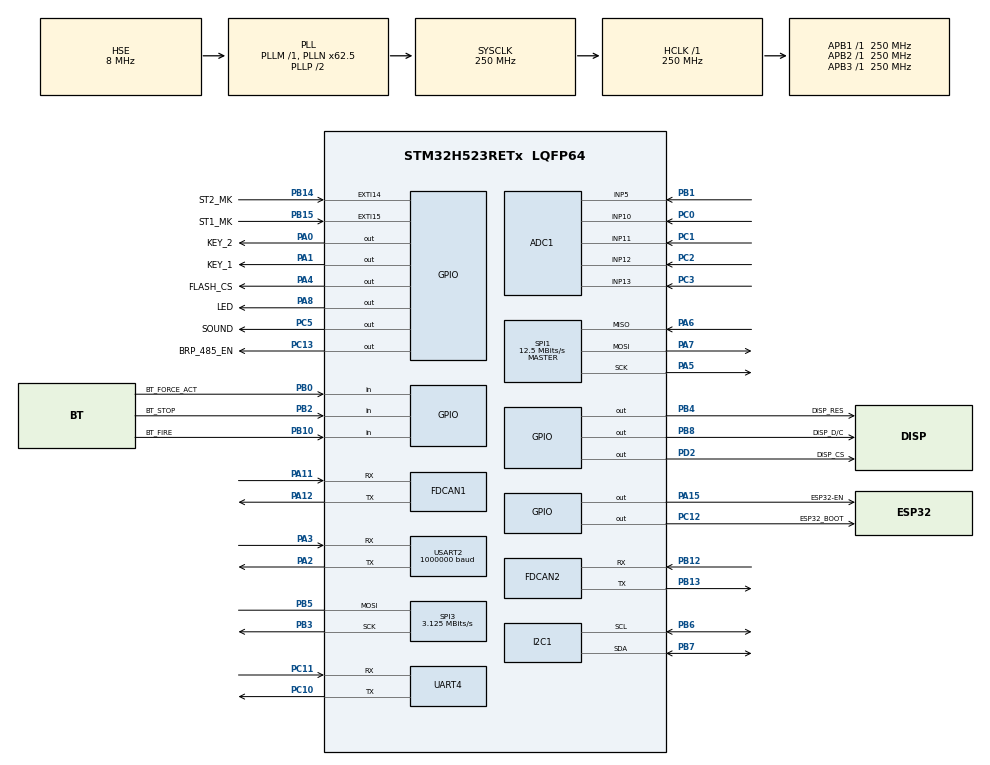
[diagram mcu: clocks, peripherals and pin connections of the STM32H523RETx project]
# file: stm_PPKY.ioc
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ADC1.Channel-0\#ChannelRegularConversion=ADC_CHANNEL_5
ADC1.Channel-1\#ChannelRegularConversion=ADC_CHANNEL_10
ADC1.Channel-2\#ChannelRegularConversion=ADC_CHANNEL_11
ADC1.Channel-3\#ChannelRegularConversion=ADC_CHANNEL_12
ADC1.Channel-4\#ChannelRegularConversion=ADC_CHANNEL_13
ADC1.ClockPrescaler=ADC_CLOCK_ASYNC_DIV2
ADC1.ContinuousConvMode=ENABLE
ADC1.DMAContinuousRequests=ENABLE
ADC1.EOCSelection=ADC_EOC_SEQ_CONV
ADC1.MonitoredBy-0\#ChannelRegularConversion=__NULL
ADC1.MonitoredBy-1\#ChannelRegularConversion=__NULL
ADC1.MonitoredBy-2\#ChannelRegularConversion=__NULL
ADC1.MonitoredBy-3\#ChannelRegularConversion=__NULL
ADC1.MonitoredBy-4\#ChannelRegularConversion=__NULL
ADC1.NbrOfConversion=5
ADC1.NbrOfConversionFlag=1
ADC1.OffsetNumber-0\#ChannelRegularConversion=ADC_OFFSET_NONE
ADC1.OffsetNumber-1\#ChannelRegularConversion=ADC_OFFSET_NONE
ADC1.OffsetNumber-2\#ChannelRegularConversion=ADC_OFFSET_NONE
ADC1.OffsetNumber-3\#ChannelRegularConversion=ADC_OFFSET_NONE
ADC1.OffsetNumber-4\#ChannelRegularConversion=ADC_OFFSET_NONE
ADC1.Rank-0\#ChannelRegularConversion=1
ADC1.Rank-1\#ChannelRegularConversion=2
ADC1.Rank-2\#ChannelRegularConversion=3
ADC1.Rank-3\#ChannelRegularConversion=4
ADC1.Rank-4\#ChannelRegularConversion=5
ADC1.SamplingTime-0\#ChannelRegularConversion=ADC_SAMPLETIME_640CYCLES_5
ADC1.SamplingTime-1\#ChannelRegularConversion=ADC_SAMPLETIME_640CYCLES_5
ADC1.SamplingTime-2\#ChannelRegularConversion=ADC_SAMPLETIME_640CYCLES_5
ADC1.SamplingTime-3\#ChannelRegularConversion=ADC_SAMPLETIME_640CYCLES_5
ADC1.SamplingTime-4\#ChannelRegularConversion=ADC_SAMPLETIME_640CYCLES_5
ADC1.master=1
BOOTPATH.BootPathName=LEGACY
BOOTPATH.UserSelectedBootPath=LEGACY
CORTEX_M33_NS.AccessPermission-Cortex_Memory_Protection_Unit_Region0_Settings=MPU_REGION_ALL_RO
CORTEX_M33_NS.Attributes0=MPU_ATTRIBUTES_NUMBER0
CORTEX_M33_NS.AttributesIndex-Cortex_Memory_Protection_Unit_Region0_Settings=MPU_ATTRIBUTES_NUMBER0
CORTEX_M33_NS.BaseAddress-Cortex_Memory_Protection_Unit_Region0_Settings=0x08FFF800
CORTEX_M33_NS.Enable-Cortex_Memory_Protection_Unit_Region0_Settings=MPU_REGION_ENABLE
CORTEX_M33_NS.LimitAddress-Cortex_Memory_Protection_Unit_Region0_Settings=0x08FFFFFF
CORTEX_M33_NS.MPU_Control=MPU_PRIVILEGED_DEFAULT
CORTEX_M33_NS.Memorytype0=MPU_DEVICE
CORTEX_M33_NS.userName=CORTEX_M33
DTS.RefClock=DTS_REFCLKSEL_LSE
DTS.SamplingTime=DTS_SMP_TIME_15_CYCLE
FDCAN1.AutoRetransmission=ENABLE
FDCAN1.CalculateBaudRateNominal=250000
FDCAN1.CalculateTimeBitNominal=4000
FDCAN1.CalculateTimeQuantumNominal=250.0
FDCAN1.DataPrescaler=1
FDCAN1.DataTimeSeg1=21
FDCAN1.ExtFiltersNbr=1
FDCAN1.NominalPrescaler=2
FDCAN1.NominalSyncJumpWidth=3
FDCAN1.NominalTimeSeg1=12
FDCAN1.NominalTimeSeg2=3
FDCAN1.StdFiltersNbr=1
FDCAN2.AutoRetransmission=ENABLE
FDCAN2.CalculateBaudRateNominal=250000
FDCAN2.CalculateTimeBitNominal=4000
FDCAN2.CalculateTimeQuantumNominal=250.0
FDCAN2.ClockDivider=FDCAN_CLOCK_DIV1
FDCAN2.DataPrescaler=1
FDCAN2.DataTimeSeg1=21
FDCAN2.ExtFiltersNbr=1
FDCAN2.NominalPrescaler=2
FDCAN2.NominalSyncJumpWidth=3
FDCAN2.NominalTimeSeg1=12
FDCAN2.NominalTimeSeg2=3
FDCAN2.StdFiltersNbr=1
FLASH.OB_User_Configuration_active=false
GPDMA1.CIRCULARMODE_GPDMACH0=ENABLE
GPDMA1.CIRCULARMODE_GPDMACH1=DISABLE
GPDMA1.DESTDATAWIDTH_GPDMACH0=DMA_DEST_DATAWIDTH_HALFWORD
GPDMA1.DESTINC_GPDMACH0=DMA_DINC_INCREMENTED
GPDMA1.DESTINC_GPDMACH1=DMA_DINC_INCREMENTED
GPDMA1.IPHANDLE_GPDMACH0-SIMPLEREQUEST_GPDMACH0=__NULL
GPDMA1.IPHANDLE_GPDMACH1-SIMPLEREQUEST_GPDMACH1=__NULL
GPDMA1.REQUEST_GPDMACH0=GPDMA1_REQUEST_ADC1
GPDMA1.REQUEST_GPDMACH1=GPDMA1_REQUEST_USART2_RX
GPDMA1.SRCDATAWIDTH_GPDMACH0=DMA_SRC_DATAWIDTH_HALFWORD
GPDMA1.SRCINC_GPDMACH0=DMA_SINC_FIXED
GPDMA1.SRCINC_GPDMACH1=DMA_SINC_FIXED
GPDMA1.TRANSFERALLOCATEDPORTSRC_GPDMACH1=DMA_SRC_ALLOCATED_PORT0
I2C1.DualAddressMode=I2C_DUALADDRESS_DISABLE
I2C1.Speed=20
I2C1.Timing=0x80000DA2
Mcu.Family=STM32H5
Mcu.Name=STM32H523RETx
Mcu.Package=LQFP64
NVIC.ADC1_IRQn=true\:13\:0\:true\:false\:true\:true\:true\:true
NVIC.DTS_IRQn=true\:12\:0\:true\:false\:true\:true\:true\:true
NVIC.EXTI14_IRQn=true\:3\:0\:true\:false\:true\:true\:true\:true
NVIC.EXTI15_IRQn=true\:3\:0\:true\:false\:true\:true\:true\:true
NVIC.FDCAN1_IT0_IRQn=true\:5\:0\:true\:false\:true\:true\:true\:true
NVIC.FDCAN2_IT0_IRQn=true\:6\:0\:true\:false\:true\:true\:true\:true
NVIC.GPDMA1_Channel0_IRQn=true\:13\:0\:true\:false\:true\:false\:true\:true
NVIC.GPDMA1_Channel1_IRQn=true\:11\:0\:true\:false\:true\:false\:true\:true
NVIC.I2C1_EV_IRQn=true\:15\:0\:true\:false\:true\:true\:true\:true
NVIC.PriorityGroup=NVIC_PRIORITYGROUP_4
NVIC.TIM1_UP_IRQn=true\:10\:0\:true\:false\:true\:true\:true\:true
NVIC.TIM2_IRQn=true\:14\:0\:true\:false\:true\:true\:true\:true
NVIC.USART2_IRQn=true\:11\:0\:true\:false\:true\:true\:true\:true
PA0.GPIO_Label=KEY_2
PA0.PinAttribute=Free
PA0.Signal=GPIO_Output
PA1.GPIO_Label=KEY_1
PA1.PinAttribute=Free
PA1.Signal=GPIO_Output
PA11.GPIO_Speed=GPIO_SPEED_FREQ_VERY_HIGH
PA11.Mode=FDCAN_Activate
PA11.Signal=FDCAN1_RX
PA12.GPIO_Speed=GPIO_SPEED_FREQ_VERY_HIGH
PA12.Mode=FDCAN_Activate
PA12.Signal=FDCAN1_TX
PA13(JTMS/SWDIO).Signal=DEBUG_JTMS-SWDIO
PA14(JTCK/SWCLK).Signal=DEBUG_JTCK-SWCLK
PA15(JTDI).GPIO_Label=ESP32-EN
PA15(JTDI).Signal=GPIO_Output
PA2.GPIO_Speed=GPIO_SPEED_FREQ_VERY_HIGH
PA2.Mode=Asynchronous
PA2.PinAttribute=Free
PA2.Signal=USART2_TX
PA3.GPIO_Speed=GPIO_SPEED_FREQ_VERY_HIGH
PA3.Mode=Asynchronous
PA3.PinAttribute=Free
PA3.Signal=USART2_RX
PA4.GPIO_Label=FLASH_CS
PA4.GPIO_PuPd=GPIO_PULLDOWN
PA4.GPIO_Speed=GPIO_SPEED_FREQ_VERY_HIGH
PA4.PinAttribute=Free
PA4.Signal=GPIO_Output
PA5.GPIO_PuPd=GPIO_NOPULL
PA5.GPIO_Speed=GPIO_SPEED_FREQ_VERY_HIGH
PA5.Mode=Full_Duplex_Master
PA5.PinAttribute=Free
PA5.Signal=SPI1_SCK
PA6.GPIO_PuPd=GPIO_NOPULL
PA6.GPIO_Speed=GPIO_SPEED_FREQ_VERY_HIGH
PA6.Mode=Full_Duplex_Master
PA6.PinAttribute=Free
PA6.Signal=SPI1_MISO
PA7.GPIO_Speed=GPIO_SPEED_FREQ_VERY_HIGH
PA7.Mode=Full_Duplex_Master
PA7.PinAttribute=Free
PA7.Signal=SPI1_MOSI
PA8.GPIO_Label=LED
PA8.Signal=GPIO_Output
PB0.GPIO_Label=BT_FORCE_ACT
PB0.GPIO_PuPd=GPIO_PULLDOWN
PB0.Signal=GPIO_Input
PB1.Signal=ADCx_INP5
PB10.GPIO_Label=BT_FIRE
PB10.GPIO_PuPd=GPIO_PULLDOWN
PB10.Signal=GPIO_Input
PB12.GPIO_Speed=GPIO_SPEED_FREQ_VERY_HIGH
PB12.Mode=FDCAN_Activate
PB12.Signal=FDCAN2_RX
PB13.GPIO_Speed=GPIO_SPEED_FREQ_VERY_HIGH
PB13.Mode=FDCAN_Activate
PB13.Signal=FDCAN2_TX
PB14.GPIO_Label=ST2_MK
PB14.Signal=GPXTI14
PB15.GPIO_Label=ST1_MK
PB15.Signal=GPXTI15
PB2.GPIO_Label=BT_STOP
PB2.GPIO_PuPd=GPIO_PULLDOWN
PB2.Signal=GPIO_Input
PB3(JTDO/TRACESWO).GPIO_Speed=GPIO_SPEED_FREQ_VERY_HIGH
PB3(JTDO/TRACESWO).Mode=Simplex_Bidirectional_Master
PB3(JTDO/TRACESWO).Signal=SPI3_SCK
PB4(NJTRST).GPIO_Label=DISP_RES
PB4(NJTRST).GPIO_Speed=GPIO_SPEED_FREQ_VERY_HIGH
PB4(NJTRST).PinState=GPIO_PIN_SET
PB4(NJTRST).Signal=GPIO_Output
PB5.GPIO_Speed=GPIO_SPEED_FREQ_VERY_HIGH
PB5.Mode=Simplex_Bidirectional_Master
PB5.Signal=SPI3_MOSI
PB6.GPIO_Speed=GPIO_SPEED_FREQ_VERY_HIGH
PB6.Mode=I2C
PB6.Signal=I2C1_SCL
PB7.GPIO_Speed=GPIO_SPEED_FREQ_VERY_HIGH
PB7.Mode=I2C
PB7.Signal=I2C1_SDA
PB8.GPIO_FM8=__NULL
PB8.GPIO_Label=DISP_D/C
PB8.GPIO_Speed=GPIO_SPEED_FREQ_VERY_HIGH
PB8.Signal=GPIO_Output
PC0.GPIO_Pd=GPIO_NOPULL
PC0.PinAttribute=Free
PC0.Signal=ADCx_INP10
PC1.GPIO_Pd=GPIO_NOPULL
PC1.PinAttribute=Free
PC1.Signal=ADCx_INP11
PC10.GPIO_Speed=GPIO_SPEED_FREQ_VERY_HIGH
PC10.Mode=Asynchronous
PC10.Signal=UART4_TX
PC11.GPIO_Speed=GPIO_SPEED_FREQ_VERY_HIGH
PC11.Mode=Asynchronous
PC11.Signal=UART4_RX
PC12.GPIO_Label=ESP32_BOOT
PC12.Signal=GPIO_Output
PC13.GPIO_Label=BRP_485_EN
PC13.PinAttribute=Free
PC13.Signal=GPIO_Output
PC14-OSC32_IN(OSC32_IN).Mode=LSE-External-Oscillator
PC14-OSC32_IN(OSC32_IN).Signal=RCC_OSC32_IN
PC15-OSC32_OUT(OSC32_OUT).Mode=LSE-External-Oscillator
PC15-OSC32_OUT(OSC32_OUT).Signal=RCC_OSC32_OUT
PC2.Signal=ADCx_INP12
PC3.Signal=ADCx_INP13
PC5.GPIO_Label=SOUND
PC5.GPIO_PuPd=GPIO_PULLDOWN
PC5.Signal=GPIO_Output
PD2.GPIO_Label=DISP_CS
PD2.GPIO_Speed=GPIO_SPEED_FREQ_VERY_HIGH
PD2.PinState=GPIO_PIN_SET
PD2.Signal=GPIO_Output
PH0-OSC_IN(PH0).Mode=HSE-External-Oscillator
PH0-OSC_IN(PH0).Signal=RCC_OSC_IN
PH1-OSC_OUT(PH1).Mode=HSE-External-Oscillator
PH1-OSC_OUT(PH1).Signal=RCC_OSC_OUT
ProjectManager.HeapSize=0x200
ProjectManager.StackSize=0x400
ProjectManager.TargetToolchain=STM32CubeIDE
RCC.ADCCLockSelection=RCC_ADCDACCLKSOURCE_HSE
RCC.ADCFreq_Value=8000000
RCC.AHBFreq_Value=250000000
RCC.APB1Freq_Value=250000000
RCC.APB1TimFreq_Value=250000000
RCC.APB2Freq_Value=250000000
RCC.APB2TimFreq_Value=250000000
RCC.APB3Freq_Value=250000000
RCC.CSI_VALUE=4000000
RCC.CortexFreq_Value=250000000
RCC.EPOD_VALUE=8000000
RCC.FDCANClockSelection=RCC_FDCANCLKSOURCE_HSE
RCC.HCLKFreq_Value=250000000
RCC.HSE_VALUE=8000000
RCC.HSI48_VALUE=48000000
RCC.HSI_VALUE=64000000
RCC.I2C1CLockSelection=RCC_I2C1CLKSOURCE_HSI
RCC.LSIRC_VALUE=32000
RCC.PLL1Q=5
RCC.PLL2M=2
RCC.PLL2Source=RCC_PLL2_SOURCE_HSE
RCC.PLL3N=16
RCC.PLL3P=1
RCC.PLL3Source=RCC_PLL3_SOURCE_HSE
RCC.PLLFRACN=4096
RCC.PLLN=62
RCC.PLLSourceVirtual=RCC_PLL1_SOURCE_HSE
RCC.RTCClockSelection=RCC_RTCCLKSOURCE_LSE
RCC.SYSCLKFreq_VALUE=250000000
RCC.SYSCLKSource=RCC_SYSCLKSOURCE_PLLCLK
RCC.USBFreq_Value=48000000
RCC.VCOOutputFreq_Value=500000000
SH.ADCx_INP10.0=ADC1_INP10,IN10-Single-Ended
SH.ADCx_INP11.0=ADC1_INP11,IN11-Single-Ended
SH.ADCx_INP12.0=ADC1_INP12,IN12-Single-Ended
SH.ADCx_INP13.0=ADC1_INP13,IN13-Single-Ended
SH.ADCx_INP5.0=ADC1_INP5,IN5-Single-Ended
SPI1.BaudRatePrescaler=SPI_BAUDRATEPRESCALER_8
SPI1.CalculateBaudRate=12.5 MBits/s
SPI1.DataSize=SPI_DATASIZE_8BIT
SPI1.Direction=SPI_DIRECTION_2LINES
SPI1.MasterKeepIOState=SPI_MASTER_KEEP_IO_STATE_DISABLE
SPI1.Mode=SPI_MODE_MASTER
SPI1.VirtualType=VM_MASTER
SPI3.BaudRatePrescaler=SPI_BAUDRATEPRESCALER_32
SPI3.CalculateBaudRate=3.125 MBits/s
SPI3.DataSize=SPI_DATASIZE_8BIT
SPI3.Direction=SPI_DIRECTION_1LINE
SPI3.Mode=SPI_MODE_MASTER
SPI3.NSSPMode=SPI_NSS_PULSE_DISABLE
SPI3.VirtualType=VM_MASTER
STMicroelectronics.X-CUBE-TOUCHGFX.4.25.0.ApplicationCcGraphicsJjApplication=TouchGFXOoGenerator
STMicroelectronics.X-CUBE-TOUCHGFX.4.25.0.tgfx_custom_height=64
STMicroelectronics.X-CUBE-TOUCHGFX.4.25.0.tgfx_custom_width=128
STMicroelectronics.X-CUBE-TOUCHGFX.4.25.0.tgfx_pixel_format=BW\:1
STMicroelectronics.X-CUBE-TOUCHGFX.4.25.0_IsPackSelfContextualization=true
TIM1.AutoReloadPreload=TIM_AUTORELOAD_PRELOAD_ENABLE
TIM1.PeriodNoDither=2500-1
TIM1.Prescaler=100-1
TIM2.AutoReloadPreload=TIM_AUTORELOAD_PRELOAD_ENABLE
TIM2.PeriodNoDither=2500-1
TIM2.Prescaler=1000-1
USART2.BaudRate=1000000
USART2.VirtualMode-Asynchronous=VM_ASYNC
VP_BOOTPATH_VS_BOOTPATH.Mode=BP_Activate
VP_CORTEX_M33_NS_VS_Ext.Mode=External_Mode
VP_CRC_VS_CRC.Mode=CRC_Activate
VP_DTS_VS-DTS.Mode=DTS
VP_FLASH_SIG_Activate_FlashIP.Mode=Activate_FlashIP
VP_GPDMA1_VS_GPDMACH0.Mode=SIMPLEREQUEST_GPDMACH0
VP_GPDMA1_VS_GPDMACH1.Mode=SIMPLEREQUEST_GPDMACH1
VP_ICACHE_VS_ICACHE.Mode=DirectMappedCache
VP_MEMORYMAP_VS_MEMORYMAP.Mode=CurAppReg
VP_PWR_VS_DBSignals.Mode=DisableDeadBatterySignals
VP_PWR_VS_LPOM.Mode=PowerOptimisation
VP_PWR_VS_SECSignals.Mode=Security/Privilege
VP_RTC_VS_RTC_Activate.Mode=RTC_Enabled
VP_RTC_VS_RTC_Calendar.Mode=RTC_Calendar
VP_STMicroelectronics.X-CUBE-TOUCHGFX_VS_GraphicsJjApplication_4.25.0.Mode=GraphicsJjApplication
VP_TIM1_VS_ClockSourceINT.Mode=Internal
VP_TIM2_VS_ClockSourceINT.Mode=Internal
board=custom

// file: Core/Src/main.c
/* USER CODE BEGIN Header */
/**
  ******************************************************************************
  * @file           : main.c
  * @brief          : Main program body
  ******************************************************************************
  * @attention
  *
  * Copyright (c) 2025 STMicroelectronics.
  * All rights reserved.
  *
  * This software is licensed under terms that can be found in the LICENSE file
  * in the root directory of this software component.
  * If no LICENSE file comes with this software, it is provided AS-IS.
  *
  ******************************************************************************
  */
/* USER CODE END Header */
#include "main.h"
#include "app_touchgfx.h"

/* USER CODE BEGIN Includes */
#include "Display/display.h"
#include "stdlib.h"
#include "app.hpp"
#include "fw_update.h"
#include "led.h"
#include "can_bus.h"
#include "rtc_cache.h"
#include "menu_ui.h"
/* USER CODE END Includes */

ADC_HandleTypeDef hadc1;
DMA_NodeTypeDef Node_GPDMA1_Channel0;
DMA_QListTypeDef List_GPDMA1_Channel0;
DMA_HandleTypeDef handle_GPDMA1_Channel0;

CRC_HandleTypeDef hcrc;

DTS_HandleTypeDef hdts;

FDCAN_HandleTypeDef hfdcan1;
FDCAN_HandleTypeDef hfdcan2;

I2C_HandleTypeDef hi2c1;

RTC_HandleTypeDef hrtc;

SPI_HandleTypeDef hspi1;
SPI_HandleTypeDef hspi3;

TIM_HandleTypeDef htim1;
TIM_HandleTypeDef htim2;

UART_HandleTypeDef huart4;
UART_HandleTypeDef huart2;
DMA_HandleTypeDef handle_GPDMA1_Channel1;

/* USER CODE BEGIN PV */
SPIF_HandleTypeDef hFlash;
/* USER CODE END PV */

void SystemClock_Config(void);
static void MPU_Config(void);
static void MX_GPIO_Init(void);
static void MX_GPDMA1_Init(void);
static void MX_ADC1_Init(void);
static void MX_FDCAN1_Init(void);
static void MX_FDCAN2_Init(void);
static void MX_I2C1_Init(void);
static void MX_SPI1_Init(void);
static void MX_SPI3_Init(void);
static void MX_UART4_Init(void);
static void MX_USART2_UART_Init(void);
static void MX_CRC_Init(void);
static void MX_RTC_Init(void);
static void MX_TIM1_Init(void);
static void MX_FLASH_Init(void);
static void MX_ICACHE_Init(void);
static void MX_TIM2_Init(void);
static void MX_DTS_Init(void);
/* USER CODE BEGIN PFP */
uint8_t isMainInit = 0;
/* USER CODE END PFP */

/* USER CODE BEGIN 0 */

volatile static uint32_t is1ms = 0;
volatile static uint32_t is10ms = 0;

void HAL_TIM_PeriodElapsedCallback(TIM_HandleTypeDef *htim) {
	//Каждую 1 мс
	if(htim->Instance == TIM1)
		is1ms++;
	if(htim->Instance == TIM2)
		is10ms++;
}

/* USER CODE END 0 */

int main(void)
{

  /* MCU Configuration--------------------------------------------------------*/

  /* MPU Configuration--------------------------------------------------------*/
  MPU_Config();

  /* Reset of all peripherals, Initializes the Flash interface and the Systick. */
  HAL_Init();

  /* Configure the system clock */
  SystemClock_Config();

  /* Initialize all configured peripherals */
  MX_GPIO_Init();
  MX_GPDMA1_Init();
  MX_ADC1_Init();
  MX_FDCAN1_Init();
  MX_FDCAN2_Init();
  MX_I2C1_Init();
  MX_SPI1_Init();
  MX_SPI3_Init();
  MX_UART4_Init();
  MX_USART2_UART_Init();
  MX_CRC_Init();
  MX_RTC_Init();
  MX_TIM1_Init();
  MX_FLASH_Init();
  MX_ICACHE_Init();
  MX_TIM2_Init();
  MX_DTS_Init();
  MX_TouchGFX_Init();
  /* USER CODE BEGIN 2 */

  /* ВАЖНО - включенное кеширование может понизить производительность, если
   * функции, которые часто вызываются, разнесены по коду
   * TODO::
   * протестировать включенное и отключенное кеширование функций
   * попробовать сгрупировать важные функции в один блок, пример:
   * __attribute__((section(".fast_code"))) void critical_function(void) {
   * // ...
   *}
   *
   *
   */
  //HAL_ICACHE_Disable();
  Esp32_SetEnabled(0);
  uint8_t isFlash = 0;
  isFlash = SPIF_Init(&hFlash, &hspi1, FLASH_CS_GPIO_Port, FLASH_CS_Pin);
  //TODO:: вывести ошибку FLASH на экран, критичная неисправность
  /*
   * при этом мы блокируеем работу всех функций (пожара), только пищим и пишем на экране критическая ошибка
   */

  HAL_ADC_Start_DMA(&hadc1, (uint32_t *)ADC_VAL, NUM_ADC_CHANNEL);

  if(HAL_DTS_Start(&hdts)!= HAL_OK)
  {
    /* DTS start Error */
    Error_Handler();
  }

  /* USER CODE END 2 */

  /* Infinite loop */
  /* USER CODE BEGIN WHILE */

  InitDisplay();
  Led_Init();

  // ниже принудительно запускаем touch gfx, чтобы загрузить лого на экран.
  MX_TouchGFX_Process();
  TGFX_SignalVSync();
  Display_Enable(true);
  MX_TouchGFX_Process();
  TGFX_SignalVSync();

  if(isFlash == true) {
	  AppInit();
	  Boot_WriteProgramWatchDog();

	  HAL_TIM_Base_Start_IT(&htim1);
	  HAL_TIM_Base_Start_IT(&htim2);
  } else {

  }

  isMainInit = 1;

//  HAL_UART_Receive_DMA(&huart2, uart_buf, 2);

  uint32_t gfx_tick = HAL_GetTick();
  uint32_t led_tick = HAL_GetTick();
  uint32_t last_rtc_bkp_tick = HAL_GetTick();
  while (1)
  {
	  uint32_t cur_tick = HAL_GetTick();
	  if(abs(cur_tick - led_tick) >= 1000) {
		  led_tick = cur_tick;
		  LED_TOGGLE;

		  /*
		   * end test
		   */
	  }

	 if((cur_tick - gfx_tick) >= GFX_RATIO_MS) { // условие чтобы MX_TouchGFX_Process не спамилось слишком часто
    /* USER CODE END WHILE */

  MX_TouchGFX_Process();
    /* USER CODE BEGIN 3 */
  	  	  TGFX_SignalVSync();
  	  	  gfx_tick = cur_tick;
	  }

	 if(is1ms) {
		 is1ms--;
		 AppTimer1ms();
	 }

	 if(is10ms) {
		 is10ms--;
		 AppTimer10ms();
	 }

	 CanProcess();
	 App_CanTxProcess();

	 /* Раз в минуту сохраняем текущую дату/время в свободный BKP-регистр RTC.
	  * Формат хранения: 0xMMDDHHmm (BCD) в RTC_BKP_DR1. */
	 if ((cur_tick - last_rtc_bkp_tick) >= RTC_PING_PERIOD_S) {
		 last_rtc_bkp_tick = cur_tick;

		 RTC_TimeTypeDef rtc_time;
		 RTC_DateTypeDef rtc_date;
		 if (RtcCache_GetBcd(&rtc_time, &rtc_date)) {
			 uint32_t packed =
					 ((uint32_t)rtc_date.Month << 24) |
					 ((uint32_t)rtc_date.Date  << 16) |
					 ((uint32_t)rtc_time.Hours << 8)  |
					 ((uint32_t)rtc_time.Minutes)  ;
			 HAL_PWR_EnableBkUpAccess();
			 HAL_RTCEx_BKUPWrite(&hrtc, RTC_BKP_DR1, packed);
		 }
	 }
  }
  /* USER CODE END 3 */
}

void SystemClock_Config(void)
{
  RCC_OscInitTypeDef RCC_OscInitStruct = {0};
  RCC_ClkInitTypeDef RCC_ClkInitStruct = {0};

  /** Configure the main internal regulator output voltage
  */
  __HAL_PWR_VOLTAGESCALING_CONFIG(PWR_REGULATOR_VOLTAGE_SCALE0);

  while(!__HAL_PWR_GET_FLAG(PWR_FLAG_VOSRDY)) {}

  /** Configure LSE Drive Capability
  *  Warning : Only applied when the LSE is disabled.
  */
  HAL_PWR_EnableBkUpAccess();
  __HAL_RCC_LSEDRIVE_CONFIG(RCC_LSEDRIVE_LOW);

  /** Initializes the RCC Oscillators according to the specified parameters
  * in the RCC_OscInitTypeDef structure.
  */
  RCC_OscInitStruct.OscillatorType = RCC_OSCILLATORTYPE_HSI|RCC_OSCILLATORTYPE_HSE
                              |RCC_OSCILLATORTYPE_LSE;
  RCC_OscInitStruct.HSEState = RCC_HSE_ON;
  RCC_OscInitStruct.LSEState = RCC_LSE_ON;
  RCC_OscInitStruct.HSIState = RCC_HSI_ON;
  RCC_OscInitStruct.HSIDiv = RCC_HSI_DIV2;
  RCC_OscInitStruct.HSICalibrationValue = RCC_HSICALIBRATION_DEFAULT;
  RCC_OscInitStruct.PLL.PLLState = RCC_PLL_ON;
  RCC_OscInitStruct.PLL.PLLSource = RCC_PLL1_SOURCE_HSE;
  RCC_OscInitStruct.PLL.PLLM = 1;
  RCC_OscInitStruct.PLL.PLLN = 62;
  RCC_OscInitStruct.PLL.PLLP = 2;
  RCC_OscInitStruct.PLL.PLLQ = 5;
  RCC_OscInitStruct.PLL.PLLR = 2;
  RCC_OscInitStruct.PLL.PLLRGE = RCC_PLL1_VCIRANGE_3;
  RCC_OscInitStruct.PLL.PLLVCOSEL = RCC_PLL1_VCORANGE_WIDE;
  RCC_OscInitStruct.PLL.PLLFRACN = 4096;
  if (HAL_RCC_OscConfig(&RCC_OscInitStruct) != HAL_OK)
  {
    Error_Handler();
  }

  /** Initializes the CPU, AHB and APB buses clocks
  */
  RCC_ClkInitStruct.ClockType = RCC_CLOCKTYPE_HCLK|RCC_CLOCKTYPE_SYSCLK
                              |RCC_CLOCKTYPE_PCLK1|RCC_CLOCKTYPE_PCLK2
                              |RCC_CLOCKTYPE_PCLK3;
  RCC_ClkInitStruct.SYSCLKSource = RCC_SYSCLKSOURCE_PLLCLK;
  RCC_ClkInitStruct.AHBCLKDivider = RCC_SYSCLK_DIV1;
  RCC_ClkInitStruct.APB1CLKDivider = RCC_HCLK_DIV1;
  RCC_ClkInitStruct.APB2CLKDivider = RCC_HCLK_DIV1;
  RCC_ClkInitStruct.APB3CLKDivider = RCC_HCLK_DIV1;

  if (HAL_RCC_ClockConfig(&RCC_ClkInitStruct, FLASH_LATENCY_5) != HAL_OK)
  {
    Error_Handler();
  }

   /* Select SysTick source clock */
  HAL_SYSTICK_CLKSourceConfig(SYSTICK_CLKSOURCE_HCLK);

   /* Re-Initialize Tick with new clock source */
  if (HAL_InitTick(TICK_INT_PRIORITY) != HAL_OK)
  {
    Error_Handler();
  }

  /** Configure the programming delay
  */
  __HAL_FLASH_SET_PROGRAM_DELAY(FLASH_PROGRAMMING_DELAY_2);
}

static void MX_ADC1_Init(void)
{

  ADC_ChannelConfTypeDef sConfig = {0};

  /** Common config
  */
  hadc1.Instance = ADC1;
  hadc1.Init.ClockPrescaler = ADC_CLOCK_ASYNC_DIV2;
  hadc1.Init.Resolution = ADC_RESOLUTION_12B;
  hadc1.Init.DataAlign = ADC_DATAALIGN_RIGHT;
  hadc1.Init.ScanConvMode = ADC_SCAN_ENABLE;
  hadc1.Init.EOCSelection = ADC_EOC_SEQ_CONV;
  hadc1.Init.LowPowerAutoWait = DISABLE;
  hadc1.Init.ContinuousConvMode = ENABLE;
  hadc1.Init.NbrOfConversion = 5;
  hadc1.Init.DiscontinuousConvMode = DISABLE;
  hadc1.Init.ExternalTrigConv = ADC_SOFTWARE_START;
  hadc1.Init.ExternalTrigConvEdge = ADC_EXTERNALTRIGCONVEDGE_NONE;
  hadc1.Init.DMAContinuousRequests = ENABLE;
  hadc1.Init.SamplingMode = ADC_SAMPLING_MODE_NORMAL;
  hadc1.Init.Overrun = ADC_OVR_DATA_PRESERVED;
  hadc1.Init.OversamplingMode = DISABLE;
  if (HAL_ADC_Init(&hadc1) != HAL_OK)
  {
    Error_Handler();
  }

  /** Configure Regular Channel
  */
  sConfig.Channel = ADC_CHANNEL_5;
  sConfig.Rank = ADC_REGULAR_RANK_1;
  sConfig.SamplingTime = ADC_SAMPLETIME_640CYCLES_5;
  sConfig.SingleDiff = ADC_SINGLE_ENDED;
  sConfig.OffsetNumber = ADC_OFFSET_NONE;
  sConfig.Offset = 0;
  if (HAL_ADC_ConfigChannel(&hadc1, &sConfig) != HAL_OK)
  {
    Error_Handler();
  }

  /** Configure Regular Channel
  */
  sConfig.Channel = ADC_CHANNEL_10;
  sConfig.Rank = ADC_REGULAR_RANK_2;
  if (HAL_ADC_ConfigChannel(&hadc1, &sConfig) != HAL_OK)
  {
    Error_Handler();
  }

  /** Configure Regular Channel
  */
  sConfig.Channel = ADC_CHANNEL_11;
  sConfig.Rank = ADC_REGULAR_RANK_3;
  if (HAL_ADC_ConfigChannel(&hadc1, &sConfig) != HAL_OK)
  {
    Error_Handler();
  }

  /** Configure Regular Channel
  */
  sConfig.Channel = ADC_CHANNEL_12;
  sConfig.Rank = ADC_REGULAR_RANK_4;
  if (HAL_ADC_ConfigChannel(&hadc1, &sConfig) != HAL_OK)
  {
    Error_Handler();
  }

  /** Configure Regular Channel
  */
  sConfig.Channel = ADC_CHANNEL_13;
  sConfig.Rank = ADC_REGULAR_RANK_5;
  if (HAL_ADC_ConfigChannel(&hadc1, &sConfig) != HAL_OK)
  {
    Error_Handler();
  }

}

static void MX_CRC_Init(void)
{

  hcrc.Instance = CRC;
  hcrc.Init.DefaultPolynomialUse = DEFAULT_POLYNOMIAL_ENABLE;
  hcrc.Init.DefaultInitValueUse = DEFAULT_INIT_VALUE_ENABLE;
  hcrc.Init.InputDataInversionMode = CRC_INPUTDATA_INVERSION_NONE;
  hcrc.Init.OutputDataInversionMode = CRC_OUTPUTDATA_INVERSION_DISABLE;
  hcrc.InputDataFormat = CRC_INPUTDATA_FORMAT_BYTES;
  if (HAL_CRC_Init(&hcrc) != HAL_OK)
  {
    Error_Handler();
  }

}

static void MX_DTS_Init(void)
{

  hdts.Instance = DTS;
  hdts.Init.QuickMeasure = DTS_QUICKMEAS_DISABLE;
  hdts.Init.RefClock = DTS_REFCLKSEL_LSE;
  hdts.Init.TriggerInput = DTS_TRIGGER_HW_NONE;
  hdts.Init.SamplingTime = DTS_SMP_TIME_15_CYCLE;
  hdts.Init.Divider = 0;
  hdts.Init.HighThreshold = 0x0;
  hdts.Init.LowThreshold = 0x0;
  if (HAL_DTS_Init(&hdts) != HAL_OK)
  {
    Error_Handler();
  }

}

static void MX_FDCAN1_Init(void)
{

  hfdcan1.Instance = FDCAN1;
  hfdcan1.Init.ClockDivider = FDCAN_CLOCK_DIV1;
  hfdcan1.Init.FrameFormat = FDCAN_FRAME_CLASSIC;
  hfdcan1.Init.Mode = FDCAN_MODE_NORMAL;
  hfdcan1.Init.AutoRetransmission = ENABLE;
  hfdcan1.Init.TransmitPause = DISABLE;
  hfdcan1.Init.ProtocolException = DISABLE;
  hfdcan1.Init.NominalPrescaler = 2;
  hfdcan1.Init.NominalSyncJumpWidth = 3;
  hfdcan1.Init.NominalTimeSeg1 = 12;
  hfdcan1.Init.NominalTimeSeg2 = 3;
  hfdcan1.Init.DataPrescaler = 1;
  hfdcan1.Init.DataSyncJumpWidth = 1;
  hfdcan1.Init.DataTimeSeg1 = 21;
  hfdcan1.Init.DataTimeSeg2 = 1;
  hfdcan1.Init.StdFiltersNbr = 1;
  hfdcan1.Init.ExtFiltersNbr = 1;
  hfdcan1.Init.TxFifoQueueMode = FDCAN_TX_FIFO_OPERATION;
  if (HAL_FDCAN_Init(&hfdcan1) != HAL_OK)
  {
    Error_Handler();
  }
  /* USER CODE BEGIN FDCAN1_Init 2 */

  if (HAL_FDCAN_Start(&hfdcan1) != HAL_OK)
  {
    /* Start Error */
    Error_Handler();
  }

  if (HAL_FDCAN_ActivateNotification(&hfdcan1, FDCAN_IT_RX_FIFO0_NEW_MESSAGE, 0) != HAL_OK)
  {
    Error_Handler();
  }

  // Активация прерываний ошибок для автоматического выхода из Bus Off
  if (HAL_FDCAN_ActivateNotification(&hfdcan1, FDCAN_IT_BUS_OFF | FDCAN_IT_ERROR_WARNING | FDCAN_IT_ERROR_PASSIVE, 0) != HAL_OK)
  {
    Error_Handler();
  }

  /* USER CODE END FDCAN1_Init 2 */

}

static void MX_FDCAN2_Init(void)
{

  hfdcan2.Instance = FDCAN2;
  hfdcan2.Init.ClockDivider = FDCAN_CLOCK_DIV1;
  hfdcan2.Init.FrameFormat = FDCAN_FRAME_CLASSIC;
  hfdcan2.Init.Mode = FDCAN_MODE_NORMAL;
  hfdcan2.Init.AutoRetransmission = ENABLE;
  hfdcan2.Init.TransmitPause = DISABLE;
  hfdcan2.Init.ProtocolException = DISABLE;
  hfdcan2.Init.NominalPrescaler = 2;
  hfdcan2.Init.NominalSyncJumpWidth = 3;
  hfdcan2.Init.NominalTimeSeg1 = 12;
  hfdcan2.Init.NominalTimeSeg2 = 3;
  hfdcan2.Init.DataPrescaler = 1;
  hfdcan2.Init.DataSyncJumpWidth = 1;
  hfdcan2.Init.DataTimeSeg1 = 21;
  hfdcan2.Init.DataTimeSeg2 = 1;
  hfdcan2.Init.StdFiltersNbr = 1;
  hfdcan2.Init.ExtFiltersNbr = 1;
  hfdcan2.Init.TxFifoQueueMode = FDCAN_TX_FIFO_OPERATION;
  if (HAL_FDCAN_Init(&hfdcan2) != HAL_OK)
  {
    Error_Handler();
  }
  /* USER CODE BEGIN FDCAN2_Init 2 */

  /* Принимать все расширенные кадры во FIFO1 */
  {
    FDCAN_FilterTypeDef  sFilterConfig;
    sFilterConfig.IdType       = FDCAN_EXTENDED_ID;
    sFilterConfig.FilterIndex  = 0;
    sFilterConfig.FilterType   = FDCAN_FILTER_MASK;
    sFilterConfig.FilterConfig = FDCAN_FILTER_TO_RXFIFO1;
    sFilterConfig.FilterID1    = 0x00000000U; /* ID */
    sFilterConfig.FilterID2    = 0x00000000U; /* MASK = 0 => принимать всё */

    if (HAL_FDCAN_ConfigFilter(&hfdcan2, &sFilterConfig) != HAL_OK)
    {
      Error_Handler();
    }
  }

  if (HAL_FDCAN_Start(&hfdcan2) != HAL_OK)
  {
    /* Start Error */
    Error_Handler();
  }

    if (HAL_FDCAN_ActivateNotification(&hfdcan2, FDCAN_IT_RX_FIFO1_NEW_MESSAGE, 0) != HAL_OK)
  {
    Error_Handler();
  }

  // Активация прерываний ошибок для автоматического выхода из Bus Off
  if (HAL_FDCAN_ActivateNotification(&hfdcan2, FDCAN_IT_BUS_OFF | FDCAN_IT_ERROR_WARNING | FDCAN_IT_ERROR_PASSIVE, 0) != HAL_OK)
  {
    Error_Handler();
  }
  /* USER CODE END FDCAN2_Init 2 */

}

static void MX_FLASH_Init(void)
{

  if (HAL_FLASH_Unlock() != HAL_OK)
  {
    Error_Handler();
  }
  if (HAL_FLASH_Lock() != HAL_OK)
  {
    Error_Handler();
  }

}

static void MX_GPDMA1_Init(void)
{

  /* Peripheral clock enable */
  __HAL_RCC_GPDMA1_CLK_ENABLE();

  /* GPDMA1 interrupt Init */
    HAL_NVIC_SetPriority(GPDMA1_Channel0_IRQn, 13, 0);
    HAL_NVIC_EnableIRQ(GPDMA1_Channel0_IRQn);
    HAL_NVIC_SetPriority(GPDMA1_Channel1_IRQn, 11, 0);
    HAL_NVIC_EnableIRQ(GPDMA1_Channel1_IRQn);

}

static void MX_I2C1_Init(void)
{

  hi2c1.Instance = I2C1;
  hi2c1.Init.Timing = 0x80000DA2;
  hi2c1.Init.OwnAddress1 = 0;
  hi2c1.Init.AddressingMode = I2C_ADDRESSINGMODE_7BIT;
  hi2c1.Init.DualAddressMode = I2C_DUALADDRESS_DISABLE;
  hi2c1.Init.OwnAddress2 = 0;
  hi2c1.Init.OwnAddress2Masks = I2C_OA2_NOMASK;
  hi2c1.Init.GeneralCallMode = I2C_GENERALCALL_DISABLE;
  hi2c1.Init.NoStretchMode = I2C_NOSTRETCH_DISABLE;
  if (HAL_I2C_Init(&hi2c1) != HAL_OK)
  {
    Error_Handler();
  }

  /** Configure Analogue filter
  */
  if (HAL_I2CEx_ConfigAnalogFilter(&hi2c1, I2C_ANALOGFILTER_ENABLE) != HAL_OK)
  {
    Error_Handler();
  }

  /** Configure Digital filter
  */
  if (HAL_I2CEx_ConfigDigitalFilter(&hi2c1, 0) != HAL_OK)
  {
    Error_Handler();
  }

}

static void MX_ICACHE_Init(void)
{

  /** Enable instruction cache in 1-way (direct mapped cache)
  */
  if (HAL_ICACHE_ConfigAssociativityMode(ICACHE_1WAY) != HAL_OK)
  {
    Error_Handler();
  }
  if (HAL_ICACHE_Enable() != HAL_OK)
  {
    Error_Handler();
  }

}

static void MX_RTC_Init(void)
{

  /* USER CODE BEGIN RTC_Init 0 */

    HAL_PWR_EnableBkUpAccess();//+

  /* USER CODE END RTC_Init 0 */

  RTC_PrivilegeStateTypeDef privilegeState = {0};
  RTC_TimeTypeDef sTime = {0};
  RTC_DateTypeDef sDate = {0};

  /** Initialize RTC Only
  */
  hrtc.Instance = RTC;
  hrtc.Init.HourFormat = RTC_HOURFORMAT_24;
  hrtc.Init.AsynchPrediv = 127;
  hrtc.Init.SynchPrediv = 255;
  hrtc.Init.OutPut = RTC_OUTPUT_DISABLE;
  hrtc.Init.OutPutRemap = RTC_OUTPUT_REMAP_NONE;
  hrtc.Init.OutPutPolarity = RTC_OUTPUT_POLARITY_HIGH;
  hrtc.Init.OutPutType = RTC_OUTPUT_TYPE_OPENDRAIN;
  hrtc.Init.OutPutPullUp = RTC_OUTPUT_PULLUP_NONE;
  hrtc.Init.BinMode = RTC_BINARY_NONE;
  if (HAL_RTC_Init(&hrtc) != HAL_OK)
  {
    Error_Handler();
  }
  privilegeState.rtcPrivilegeFull = RTC_PRIVILEGE_FULL_NO;
  privilegeState.backupRegisterPrivZone = RTC_PRIVILEGE_BKUP_ZONE_NONE;
  privilegeState.backupRegisterStartZone2 = RTC_BKP_DR0;
  privilegeState.backupRegisterStartZone3 = RTC_BKP_DR0;
  if (HAL_RTCEx_PrivilegeModeSet(&hrtc, &privilegeState) != HAL_OK)
  {
    Error_Handler();
  }

  /* USER CODE BEGIN Check_RTC_BKUP */
  if (HAL_RTCEx_BKUPRead(&hrtc, RTC_BKP_DR0) != RTC_BKP_MAGIC)
  {
  /* USER CODE END Check_RTC_BKUP */

  /** Initialize RTC and set the Time and Date
  */
  sTime.Hours = 0x0;
  sTime.Minutes = 0x0;
  sTime.Seconds = 0x0;
  sTime.DayLightSaving = RTC_DAYLIGHTSAVING_NONE;
  sTime.StoreOperation = RTC_STOREOPERATION_RESET;
  if (HAL_RTC_SetTime(&hrtc, &sTime, RTC_FORMAT_BCD) != HAL_OK)
  {
    Error_Handler();
  }
  sDate.WeekDay = RTC_WEEKDAY_MONDAY;
  sDate.Month = RTC_MONTH_JANUARY;
  sDate.Date = 0x1;
  sDate.Year = 0x0;

  if (HAL_RTC_SetDate(&hrtc, &sDate, RTC_FORMAT_BCD) != HAL_OK)
  {
    Error_Handler();
  }
  /* USER CODE BEGIN RTC_Init 2 */
  HAL_RTCEx_BKUPWrite(&hrtc, RTC_BKP_DR0, RTC_BKP_MAGIC);
  } else {
	  hrtc.Instance = RTC;
	  HAL_RTC_Init(&hrtc);  // только инициализация структуры, без SetTime/SetDate

  }
  /* USER CODE END RTC_Init 2 */

}

static void MX_SPI1_Init(void)
{

  /* SPI1 parameter configuration*/
  hspi1.Instance = SPI1;
  hspi1.Init.Mode = SPI_MODE_MASTER;
  hspi1.Init.Direction = SPI_DIRECTION_2LINES;
  hspi1.Init.DataSize = SPI_DATASIZE_8BIT;
  hspi1.Init.CLKPolarity = SPI_POLARITY_LOW;
  hspi1.Init.CLKPhase = SPI_PHASE_1EDGE;
  hspi1.Init.NSS = SPI_NSS_SOFT;
  hspi1.Init.BaudRatePrescaler = SPI_BAUDRATEPRESCALER_8;
  hspi1.Init.FirstBit = SPI_FIRSTBIT_MSB;
  hspi1.Init.TIMode = SPI_TIMODE_DISABLE;
  hspi1.Init.CRCCalculation = SPI_CRCCALCULATION_DISABLE;
  hspi1.Init.CRCPolynomial = 0x7;
  hspi1.Init.NSSPMode = SPI_NSS_PULSE_ENABLE;
  hspi1.Init.NSSPolarity = SPI_NSS_POLARITY_LOW;
  hspi1.Init.FifoThreshold = SPI_FIFO_THRESHOLD_01DATA;
  hspi1.Init.MasterSSIdleness = SPI_MASTER_SS_IDLENESS_00CYCLE;
  hspi1.Init.MasterInterDataIdleness = SPI_MASTER_INTERDATA_IDLENESS_00CYCLE;
  hspi1.Init.MasterReceiverAutoSusp = SPI_MASTER_RX_AUTOSUSP_DISABLE;
  hspi1.Init.MasterKeepIOState = SPI_MASTER_KEEP_IO_STATE_DISABLE;
  hspi1.Init.IOSwap = SPI_IO_SWAP_DISABLE;
  hspi1.Init.ReadyMasterManagement = SPI_RDY_MASTER_MANAGEMENT_INTERNALLY;
  hspi1.Init.ReadyPolarity = SPI_RDY_POLARITY_HIGH;
  if (HAL_SPI_Init(&hspi1) != HAL_OK)
  {
    Error_Handler();
  }

}

static void MX_SPI3_Init(void)
{

  /* SPI3 parameter configuration*/
  hspi3.Instance = SPI3;
  hspi3.Init.Mode = SPI_MODE_MASTER;
  hspi3.Init.Direction = SPI_DIRECTION_1LINE;
  hspi3.Init.DataSize = SPI_DATASIZE_8BIT;
  hspi3.Init.CLKPolarity = SPI_POLARITY_LOW;
  hspi3.Init.CLKPhase = SPI_PHASE_1EDGE;
  hspi3.Init.NSS = SPI_NSS_SOFT;
  hspi3.Init.BaudRatePrescaler = SPI_BAUDRATEPRESCALER_32;
  hspi3.Init.FirstBit = SPI_FIRSTBIT_MSB;
  hspi3.Init.TIMode = SPI_TIMODE_DISABLE;
  hspi3.Init.CRCCalculation = SPI_CRCCALCULATION_DISABLE;
  hspi3.Init.CRCPolynomial = 0x7;
  hspi3.Init.NSSPMode = SPI_NSS_PULSE_DISABLE;
  hspi3.Init.NSSPolarity = SPI_NSS_POLARITY_LOW;
  hspi3.Init.FifoThreshold = SPI_FIFO_THRESHOLD_01DATA;
  hspi3.Init.MasterSSIdleness = SPI_MASTER_SS_IDLENESS_00CYCLE;
  hspi3.Init.MasterInterDataIdleness = SPI_MASTER_INTERDATA_IDLENESS_00CYCLE;
  hspi3.Init.MasterReceiverAutoSusp = SPI_MASTER_RX_AUTOSUSP_DISABLE;
  hspi3.Init.MasterKeepIOState = SPI_MASTER_KEEP_IO_STATE_DISABLE;
  hspi3.Init.IOSwap = SPI_IO_SWAP_DISABLE;
  hspi3.Init.ReadyMasterManagement = SPI_RDY_MASTER_MANAGEMENT_INTERNALLY;
  hspi3.Init.ReadyPolarity = SPI_RDY_POLARITY_HIGH;
  if (HAL_SPI_Init(&hspi3) != HAL_OK)
  {
    Error_Handler();
  }

}

static void MX_TIM1_Init(void)
{

  TIM_ClockConfigTypeDef sClockSourceConfig = {0};
  TIM_MasterConfigTypeDef sMasterConfig = {0};

  htim1.Instance = TIM1;
  htim1.Init.Prescaler = 100-1;
  htim1.Init.CounterMode = TIM_COUNTERMODE_UP;
  htim1.Init.Period = 2499;
  htim1.Init.ClockDivision = TIM_CLOCKDIVISION_DIV1;
  htim1.Init.RepetitionCounter = 0;
  htim1.Init.AutoReloadPreload = TIM_AUTORELOAD_PRELOAD_ENABLE;
  if (HAL_TIM_Base_Init(&htim1) != HAL_OK)
  {
    Error_Handler();
  }
  sClockSourceConfig.ClockSource = TIM_CLOCKSOURCE_INTERNAL;
  if (HAL_TIM_ConfigClockSource(&htim1, &sClockSourceConfig) != HAL_OK)
  {
    Error_Handler();
  }
  sMasterConfig.MasterOutputTrigger = TIM_TRGO_RESET;
  sMasterConfig.MasterOutputTrigger2 = TIM_TRGO2_RESET;
  sMasterConfig.MasterSlaveMode = TIM_MASTERSLAVEMODE_DISABLE;
  if (HAL_TIMEx_MasterConfigSynchronization(&htim1, &sMasterConfig) != HAL_OK)
  {
    Error_Handler();
  }

}

static void MX_TIM2_Init(void)
{

  TIM_ClockConfigTypeDef sClockSourceConfig = {0};
  TIM_MasterConfigTypeDef sMasterConfig = {0};

  htim2.Instance = TIM2;
  htim2.Init.Prescaler = 1000-1;
  htim2.Init.CounterMode = TIM_COUNTERMODE_UP;
  htim2.Init.Period = 2499;
  htim2.Init.ClockDivision = TIM_CLOCKDIVISION_DIV1;
  htim2.Init.AutoReloadPreload = TIM_AUTORELOAD_PRELOAD_ENABLE;
  if (HAL_TIM_Base_Init(&htim2) != HAL_OK)
  {
    Error_Handler();
  }
  sClockSourceConfig.ClockSource = TIM_CLOCKSOURCE_INTERNAL;
  if (HAL_TIM_ConfigClockSource(&htim2, &sClockSourceConfig) != HAL_OK)
  {
    Error_Handler();
  }
  sMasterConfig.MasterOutputTrigger = TIM_TRGO_RESET;
  sMasterConfig.MasterSlaveMode = TIM_MASTERSLAVEMODE_DISABLE;
  if (HAL_TIMEx_MasterConfigSynchronization(&htim2, &sMasterConfig) != HAL_OK)
  {
    Error_Handler();
  }

}

static void MX_UART4_Init(void)
{

  huart4.Instance = UART4;
  huart4.Init.BaudRate = 115200;
  huart4.Init.WordLength = UART_WORDLENGTH_8B;
  huart4.Init.StopBits = UART_STOPBITS_1;
  huart4.Init.Parity = UART_PARITY_NONE;
  huart4.Init.Mode = UART_MODE_TX_RX;
  huart4.Init.HwFlowCtl = UART_HWCONTROL_NONE;
  huart4.Init.OverSampling = UART_OVERSAMPLING_16;
  huart4.Init.OneBitSampling = UART_ONE_BIT_SAMPLE_DISABLE;
  huart4.Init.ClockPrescaler = UART_PRESCALER_DIV1;
  huart4.AdvancedInit.AdvFeatureInit = UART_ADVFEATURE_NO_INIT;
  if (HAL_UART_Init(&huart4) != HAL_OK)
  {
    Error_Handler();
  }
  if (HAL_UARTEx_SetTxFifoThreshold(&huart4, UART_TXFIFO_THRESHOLD_1_8) != HAL_OK)
  {
    Error_Handler();
  }
  if (HAL_UARTEx_SetRxFifoThreshold(&huart4, UART_RXFIFO_THRESHOLD_1_8) != HAL_OK)
  {
    Error_Handler();
  }
  if (HAL_UARTEx_DisableFifoMode(&huart4) != HAL_OK)
  {
    Error_Handler();
  }

}

static void MX_USART2_UART_Init(void)
{

  huart2.Instance = USART2;
  huart2.Init.BaudRate = 1000000;
  huart2.Init.WordLength = UART_WORDLENGTH_8B;
  huart2.Init.StopBits = UART_STOPBITS_1;
  huart2.Init.Parity = UART_PARITY_NONE;
  huart2.Init.Mode = UART_MODE_TX_RX;
  huart2.Init.HwFlowCtl = UART_HWCONTROL_NONE;
  huart2.Init.OverSampling = UART_OVERSAMPLING_16;
  huart2.Init.OneBitSampling = UART_ONE_BIT_SAMPLE_DISABLE;
  huart2.Init.ClockPrescaler = UART_PRESCALER_DIV1;
  huart2.AdvancedInit.AdvFeatureInit = UART_ADVFEATURE_NO_INIT;
  if (HAL_UART_Init(&huart2) != HAL_OK)
  {
    Error_Handler();
  }
  if (HAL_UARTEx_SetTxFifoThreshold(&huart2, UART_TXFIFO_THRESHOLD_1_8) != HAL_OK)
  {
    Error_Handler();
  }
  if (HAL_UARTEx_SetRxFifoThreshold(&huart2, UART_RXFIFO_THRESHOLD_1_8) != HAL_OK)
  {
    Error_Handler();
  }
  if (HAL_UARTEx_DisableFifoMode(&huart2) != HAL_OK)
  {
    Error_Handler();
  }

}

static void MX_GPIO_Init(void)
{
  GPIO_InitTypeDef GPIO_InitStruct = {0};

  /* GPIO Ports Clock Enable */
  __HAL_RCC_GPIOC_CLK_ENABLE();
  __HAL_RCC_GPIOH_CLK_ENABLE();
  __HAL_RCC_GPIOA_CLK_ENABLE();
  __HAL_RCC_GPIOB_CLK_ENABLE();
  __HAL_RCC_GPIOD_CLK_ENABLE();

  /*Configure GPIO pin Output Level */
  HAL_GPIO_WritePin(GPIOC, BRP_485_EN_Pin|SOUND_Pin|ESP32_BOOT_Pin, GPIO_PIN_RESET);

  /*Configure GPIO pin Output Level */
  HAL_GPIO_WritePin(GPIOA, KEY_2_Pin|KEY_1_Pin|FLASH_CS_Pin|LED_Pin
                          |ESP32_EN_Pin, GPIO_PIN_RESET);

  /*Configure GPIO pin Output Level */
  HAL_GPIO_WritePin(DISP_CS_GPIO_Port, DISP_CS_Pin, GPIO_PIN_SET);

  /*Configure GPIO pin Output Level */
  HAL_GPIO_WritePin(DISP_RES_GPIO_Port, DISP_RES_Pin, GPIO_PIN_SET);

  /*Configure GPIO pin Output Level */
  HAL_GPIO_WritePin(DISP_D_C_GPIO_Port, DISP_D_C_Pin, GPIO_PIN_RESET);

  /*Configure GPIO pins : BRP_485_EN_Pin ESP32_BOOT_Pin */
  GPIO_InitStruct.Pin = BRP_485_EN_Pin|ESP32_BOOT_Pin;
  GPIO_InitStruct.Mode = GPIO_MODE_OUTPUT_PP;
  GPIO_InitStruct.Pull = GPIO_NOPULL;
  GPIO_InitStruct.Speed = GPIO_SPEED_FREQ_LOW;
  HAL_GPIO_Init(GPIOC, &GPIO_InitStruct);

  /*Configure GPIO pins : KEY_2_Pin KEY_1_Pin LED_Pin ESP32_EN_Pin */
  GPIO_InitStruct.Pin = KEY_2_Pin|KEY_1_Pin|LED_Pin|ESP32_EN_Pin;
  GPIO_InitStruct.Mode = GPIO_MODE_OUTPUT_PP;
  GPIO_InitStruct.Pull = GPIO_NOPULL;
  GPIO_InitStruct.Speed = GPIO_SPEED_FREQ_LOW;
  HAL_GPIO_Init(GPIOA, &GPIO_InitStruct);

  /*Configure GPIO pin : FLASH_CS_Pin */
  GPIO_InitStruct.Pin = FLASH_CS_Pin;
  GPIO_InitStruct.Mode = GPIO_MODE_OUTPUT_PP;
  GPIO_InitStruct.Pull = GPIO_PULLDOWN;
  GPIO_InitStruct.Speed = GPIO_SPEED_FREQ_VERY_HIGH;
  HAL_GPIO_Init(FLASH_CS_GPIO_Port, &GPIO_InitStruct);

  /*Configure GPIO pin : SOUND_Pin */
  GPIO_InitStruct.Pin = SOUND_Pin;
  GPIO_InitStruct.Mode = GPIO_MODE_OUTPUT_PP;
  GPIO_InitStruct.Pull = GPIO_PULLDOWN;
  GPIO_InitStruct.Speed = GPIO_SPEED_FREQ_LOW;
  HAL_GPIO_Init(SOUND_GPIO_Port, &GPIO_InitStruct);

  /*Configure GPIO pins : BT_FORCE_ACT_Pin BT_STOP_Pin BT_FIRE_Pin */
  GPIO_InitStruct.Pin = BT_FORCE_ACT_Pin|BT_STOP_Pin|BT_FIRE_Pin;
  GPIO_InitStruct.Mode = GPIO_MODE_INPUT;
  GPIO_InitStruct.Pull = GPIO_PULLDOWN;
  HAL_GPIO_Init(GPIOB, &GPIO_InitStruct);

  /*Configure GPIO pins : ST2_MK_Pin ST1_MK_Pin */
  GPIO_InitStruct.Pin = ST2_MK_Pin|ST1_MK_Pin;
  GPIO_InitStruct.Mode = GPIO_MODE_IT_RISING;
  GPIO_InitStruct.Pull = GPIO_NOPULL;
  HAL_GPIO_Init(GPIOB, &GPIO_InitStruct);

  /*Configure GPIO pin : DISP_CS_Pin */
  GPIO_InitStruct.Pin = DISP_CS_Pin;
  GPIO_InitStruct.Mode = GPIO_MODE_OUTPUT_PP;
  GPIO_InitStruct.Pull = GPIO_NOPULL;
  GPIO_InitStruct.Speed = GPIO_SPEED_FREQ_VERY_HIGH;
  HAL_GPIO_Init(DISP_CS_GPIO_Port, &GPIO_InitStruct);

  /*Configure GPIO pins : DISP_RES_Pin DISP_D_C_Pin */
  GPIO_InitStruct.Pin = DISP_RES_Pin|DISP_D_C_Pin;
  GPIO_InitStruct.Mode = GPIO_MODE_OUTPUT_PP;
  GPIO_InitStruct.Pull = GPIO_NOPULL;
  GPIO_InitStruct.Speed = GPIO_SPEED_FREQ_VERY_HIGH;
  HAL_GPIO_Init(GPIOB, &GPIO_InitStruct);

  /* EXTI interrupt init*/
  HAL_NVIC_SetPriority(EXTI14_IRQn, 3, 0);
  HAL_NVIC_EnableIRQ(EXTI14_IRQn);

  HAL_NVIC_SetPriority(EXTI15_IRQn, 3, 0);
  HAL_NVIC_EnableIRQ(EXTI15_IRQn);

}

/* USER CODE BEGIN 4 */
#define APP_VERSION_U32 2u

const char *GetAppVersion(void)
{
    static char ver_buf[64];
    /* fw: версия прошивки (пока константа) */
    (void)snprintf(ver_buf, sizeof(ver_buf), "БСУ 4 версия аппаратной части %u", (unsigned)APP_VERSION_U32);
    return ver_buf;
}

/* USER CODE END 4 */

 /* MPU Configuration */

void MPU_Config(void)
{
  MPU_Region_InitTypeDef MPU_InitStruct = {0};
  MPU_Attributes_InitTypeDef MPU_AttributesInit = {0};

  /* Disables the MPU */
  HAL_MPU_Disable();

  /** Initializes and configures the Region 0 and the memory to be protected
  */
  MPU_InitStruct.Enable = MPU_REGION_ENABLE;
  MPU_InitStruct.Number = MPU_REGION_NUMBER0;
  MPU_InitStruct.BaseAddress = 0x08FFF800;
  MPU_InitStruct.LimitAddress = 0x08FFFFFF;
  MPU_InitStruct.AttributesIndex = MPU_ATTRIBUTES_NUMBER0;
  MPU_InitStruct.AccessPermission = MPU_REGION_ALL_RO;
  MPU_InitStruct.DisableExec = MPU_INSTRUCTION_ACCESS_ENABLE;
  MPU_InitStruct.IsShareable = MPU_ACCESS_NOT_SHAREABLE;

  HAL_MPU_ConfigRegion(&MPU_InitStruct);

  /** Initializes and configures the Attribute 0 and the memory to be protected
  */
  MPU_AttributesInit.Number = MPU_ATTRIBUTES_NUMBER0;
  MPU_AttributesInit.Attributes = MPU_DEVICE_nGnRnE;

  HAL_MPU_ConfigMemoryAttributes(&MPU_AttributesInit);
  /* Enables the MPU */
  HAL_MPU_Enable(MPU_PRIVILEGED_DEFAULT);

}

void Error_Handler(void)
{
  /* USER CODE BEGIN Error_Handler_Debug */
	//TODO DELETE
	return;
  /* User can add his own implementation to report the HAL error return state */
  __disable_irq();
  while (1)
  {
  }
  /* USER CODE END Error_Handler_Debug */
}
